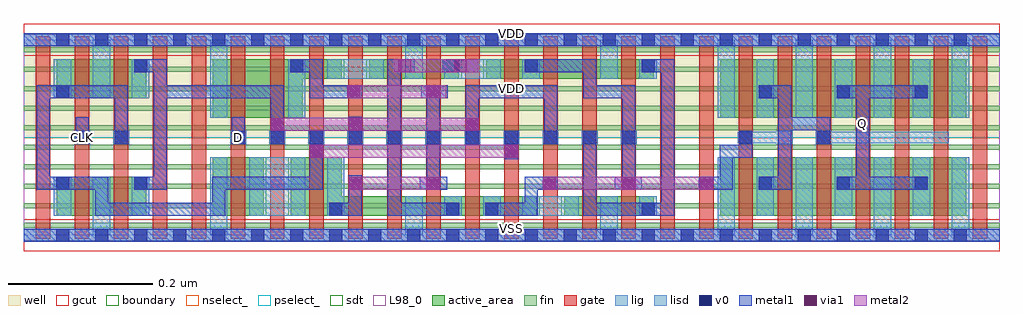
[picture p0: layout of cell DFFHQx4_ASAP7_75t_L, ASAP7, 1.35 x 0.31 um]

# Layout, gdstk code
import gdstk
lib = gdstk.Library(unit=1e-6, precision=2.5e-10)
def R(c, l, rs):  # rectangles x0, y0, x1, y1
    for r in rs: c.add(gdstk.rectangle(r[:2], r[2:], *l))
def A(c, l, x, y, w, h, nx, ny, dx, dy):  # array of equal rectangles
    R(c, l, [(x+i*dx, y+j*dy, x+i*dx+w, y+j*dy+h) for i in range(nx) for j in range(ny)])
def P(c, l, *ps):  # polygons
    for p in ps: c.add(gdstk.Polygon(p, *l))
well = (1, 0)
fin = (2, 0)
gate = (7, 0)
gcut = (10, 0)
active_area = (11, 0)
nselect_ = (12, 0)
pselect_ = (13, 0)
lig = (16, 0)
lisd = (17, 0)
v0 = (18, 0)
metal1 = (19, 0)
metal2 = (20, 0)
via1 = (21, 0)
sdt = (88, 0)
L98_0 = (98, 0)
boundary = (100, 0)

dffhqx4_asap7_75t_l = lib.new_cell('DFFHQx4_ASAP7_75t_L')
R(dffhqx4_asap7_75t_l, well, [(0,0.135,1.35,0.27)])
A(dffhqx4_asap7_75t_l, fin, 0, 0.01, 1.35, 0.007, 1, 10, 0, 0.027)
A(dffhqx4_asap7_75t_l, gate, 0.017, -0.005, 0.02, 0.28, 25, 1, 0.054, 0)
R(dffhqx4_asap7_75t_l, gcut, [(0,-0.022,1.35,0.022), (0,0.248,1.35,0.292)])
R(dffhqx4_asap7_75t_l, active_area, [(0.046,0.027,0.17,0.081), (0.262,0.027,0.332,0.108), (0.748,0.027,0.872,0.054), (0.964,0.027,1.304,0.108), (0.964,0.162,1.304,0.243), (0.046,0.189,0.17,0.243), (0.478,0.216,0.602,0.243), (0.64,0.216,0.872,0.243)])
P(dffhqx4_asap7_75t_l, active_area, [(0.37,0.027),(0.37,0.108),(0.44,0.108),(0.44,0.054),(0.71,0.054),(0.71,0.027)],
  [(0.262,0.162),(0.262,0.243),(0.44,0.243),(0.44,0.216),(0.386,0.216),(0.386,0.162)])
R(dffhqx4_asap7_75t_l, nselect_, [(0,0,1.35,0.135)])
R(dffhqx4_asap7_75t_l, pselect_, [(0,0.135,1.35,0.27)])
A(dffhqx4_asap7_75t_l, lig, 0.286, 0.126, 0.022, 0.018, 11, 1, 0.054, 0)
R(dffhqx4_asap7_75t_l, lig, [(0,-0.008,1.35,0.008), (0.07,0.126,0.092,0.144), (0.124,0.126,0.146,0.144), (1.042,0.126,1.064,0.144), (1.096,0.126,1.118,0.144), (0.988,0.127,1.064,0.143), (1.096,0.127,1.28,0.143), (0,0.262,1.35,0.278)])
A(dffhqx4_asap7_75t_l, lisd, 1.014, 0.027, 0.024, 0.081, 3, 2, 0.108, 0.135)
R(dffhqx4_asap7_75t_l, lisd, [(0.096,0,0.12,0.081), (0.096,0,0.12,0.081), (0.258,0,0.282,0.108), (0.258,0,0.282,0.108), (0.528,0,0.552,0.054), (0.798,0,0.822,0.054), (0.96,0,0.984,0.108), (0.96,0,0.984,0.108), (1.068,0,1.092,0.108), (1.068,0,1.092,0.108), (1.176,0,1.2,0.108), (1.176,0,1.2,0.108), (1.284,0,1.308,0.108), (1.284,0,1.308,0.108), (0.042,0.027,0.066,0.081), (0.15,0.027,0.174,0.081), (0.312,0.027,0.39,0.108), (0.42,0.027,0.444,0.108), (0.582,0.027,0.606,0.054), (0.636,0.027,0.66,0.054), (0.69,0.027,0.768,0.054), (0.852,0.027,0.876,0.054), (0.258,0.162,0.282,0.27), (0.258,0.162,0.282,0.27), (0.366,0.162,0.39,0.243), (0.96,0.162,0.984,0.27), (0.96,0.162,0.984,0.27), (1.068,0.162,1.092,0.27), (1.068,0.162,1.092,0.27), (1.176,0.162,1.2,0.27), (1.176,0.162,1.2,0.27), (1.284,0.162,1.308,0.27), (1.284,0.162,1.308,0.27), (0.042,0.189,0.066,0.243), (0.096,0.189,0.12,0.27), (0.096,0.189,0.12,0.27), (0.15,0.189,0.174,0.243), (0.42,0.216,0.498,0.243), (0.528,0.216,0.552,0.27), (0.582,0.216,0.66,0.243), (0.582,0.216,0.606,0.243), (0.69,0.216,0.714,0.243), (0.798,0.216,0.822,0.27), (0.852,0.216,0.876,0.243)])
A(dffhqx4_asap7_75t_l, v0, 0.045, -0.009, 0.018, 0.018, 24, 2, 0.054, 0.27)
A(dffhqx4_asap7_75t_l, v0, 1.017, 0.063, 0.018, 0.018, 3, 2, 0.108, 0.126)
A(dffhqx4_asap7_75t_l, v0, 0.288, 0.126, 0.018, 0.018, 11, 1, 0.054, 0)
A(dffhqx4_asap7_75t_l, v0, 0.153, 0.225, 0.018, 0.018, 3, 1, 0.216, 0)
R(dffhqx4_asap7_75t_l, v0, [(0.423,0.027,0.441,0.045), (0.585,0.027,0.603,0.045), (0.639,0.027,0.657,0.045), (0.855,0.027,0.873,0.045), (0.045,0.063,0.063,0.081), (0.153,0.063,0.171,0.081), (0.072,0.126,0.09,0.144), (0.126,0.126,0.144,0.144), (0.99,0.126,1.008,0.144), (1.098,0.126,1.116,0.144), (0.045,0.189,0.063,0.207), (0.693,0.225,0.711,0.243), (0.855,0.225,0.873,0.243)])
A(dffhqx4_asap7_75t_l, metal1, 1.017, 0.063, 0.018, 0.018, 3, 2, 0.108, 0.126)
A(dffhqx4_asap7_75t_l, metal1, 0.288, 0.126, 0.018, 0.018, 11, 1, 0.054, 0)
R(dffhqx4_asap7_75t_l, metal1, [(0,-0.009,1.35,0.009), (0.423,0.027,0.441,0.045), (0.585,0.027,0.603,0.045), (0.639,0.027,0.657,0.045), (0.855,0.027,0.873,0.045), (0.045,0.063,0.063,0.081), (0.153,0.063,0.171,0.081), (0.45,0.063,0.468,0.083), (0.548,0.063,0.586,0.081), (0.558,0.063,0.576,0.207), (0.72,0.063,0.738,0.081), (0.818,0.063,0.855,0.081), (0.934,0.063,0.956,0.081), (0.666,0.105,0.684,0.125), (0.396,0.107,0.414,0.125), (0.666,0.107,0.684,0.144), (0.072,0.126,0.09,0.144), (0.072,0.126,0.09,0.163), (0.126,0.126,0.144,0.144), (0.288,0.126,0.306,0.163), (0.45,0.126,0.468,0.163), (0.99,0.126,1.008,0.144), (1.098,0.126,1.116,0.144), (0.342,0.144,0.36,0.162), (0.45,0.144,0.468,0.164), (0.612,0.144,0.63,0.162), (0.045,0.189,0.063,0.207), (0.45,0.189,0.468,0.207), (0.55,0.189,0.587,0.207), (0.153,0.225,0.171,0.243), (0.369,0.225,0.387,0.243), (0.693,0.225,0.711,0.243), (0.855,0.225,0.873,0.243), (0,0.261,1.35,0.279)])
P(dffhqx4_asap7_75t_l, metal1, [(0.58,0.225),(0.58,0.243),(0.629,0.243),(0.629,0.228),(0.629,0.225)],
  [(0.504,0.027),(0.504,0.243),(0.541,0.243),(0.541,0.225),(0.522,0.225),(0.522,0.045),(0.603,0.045),(0.603,0.027)],
  [(0.099,0.027),(0.099,0.063),(0.018,0.063),(0.018,0.207),(0.144,0.207),(0.144,0.126),(0.126,0.126),(0.126,0.189),(0.036,0.189),(0.036,0.081),(0.117,0.081),(0.117,0.045),(0.261,0.045),(0.261,0.081),(0.396,0.081),(0.396,0.144),(0.414,0.144),(0.414,0.063),(0.279,0.063),(0.279,0.027)],
  [(0.153,0.063),(0.153,0.081),(0.18,0.081),(0.18,0.225),(0.153,0.225),(0.153,0.243),(0.198,0.243),(0.198,0.207),(0.36,0.207),(0.36,0.126),(0.342,0.126),(0.342,0.189),(0.198,0.189),(0.198,0.063)],
  [(0.612,0.126),(0.612,0.207),(0.738,0.207),(0.738,0.126),(0.72,0.126),(0.72,0.189),(0.63,0.189),(0.63,0.126)],
  [(0.396,0.189),(0.396,0.225),(0.369,0.225),(0.369,0.243),(0.414,0.243),(0.414,0.207),(0.468,0.207),(0.468,0.189)],
  [(0.423,0.027),(0.423,0.045),(0.45,0.045),(0.45,0.081),(0.468,0.081),(0.468,0.027)],
  [(0.828,0.063),(0.828,0.189),(0.774,0.189),(0.774,0.225),(0.693,0.225),(0.693,0.243),(0.792,0.243),(0.792,0.207),(0.846,0.207),(0.846,0.063)],
  [(0.936,0.063),(0.936,0.081),(0.963,0.081),(0.963,0.125),(0.99,0.125),(0.99,0.144),(1.008,0.144),(1.008,0.107),(0.981,0.107),(0.981,0.063)],
  [(0.639,0.027),(0.639,0.045),(0.693,0.045),(0.693,0.081),(0.738,0.081),(0.738,0.063),(0.711,0.063),(0.711,0.027)],
  [(0.774,0.027),(0.774,0.144),(0.792,0.144),(0.792,0.045),(0.882,0.045),(0.882,0.225),(0.855,0.225),(0.855,0.243),(0.9,0.243),(0.9,0.027)],
  [(1.017,0.063),(1.017,0.081),(1.044,0.081),(1.044,0.189),(1.017,0.189),(1.017,0.207),(1.062,0.207),(1.062,0.163),(1.116,0.163),(1.116,0.126),(1.098,0.126),(1.098,0.145),(1.062,0.145),(1.062,0.063)],
  [(1.125,0.063),(1.125,0.081),(1.152,0.081),(1.152,0.189),(1.125,0.189),(1.125,0.207),(1.251,0.207),(1.251,0.189),(1.17,0.189),(1.17,0.081),(1.251,0.081),(1.251,0.063)])
R(dffhqx4_asap7_75t_l, metal2, [(0.45,0.063,0.576,0.081), (0.718,0.063,0.954,0.081), (0.396,0.107,0.684,0.125), (0.342,0.144,0.63,0.162), (0.448,0.189,0.585,0.207), (0.512,0.225,0.629,0.243)])
R(dffhqx4_asap7_75t_l, via1, [(0.45,0.063,0.468,0.081), (0.558,0.063,0.576,0.081), (0.718,0.063,0.736,0.081), (0.828,0.063,0.846,0.081), (0.936,0.063,0.954,0.081), (0.396,0.107,0.414,0.125), (0.666,0.107,0.684,0.125), (0.342,0.144,0.36,0.162), (0.45,0.144,0.468,0.162), (0.612,0.144,0.63,0.162), (0.448,0.189,0.466,0.207), (0.558,0.189,0.576,0.207), (0.518,0.225,0.536,0.243), (0.596,0.225,0.614,0.243)])
A(dffhqx4_asap7_75t_l, sdt, 0.258, 0.027, 0.024, 0.081, 4, 1, 0.054, 0)
A(dffhqx4_asap7_75t_l, sdt, 0.528, 0.027, 0.024, 0.027, 7, 1, 0.054, 0)
A(dffhqx4_asap7_75t_l, sdt, 0.96, 0.027, 0.024, 0.081, 3, 2, 0.054, 0.135)
A(dffhqx4_asap7_75t_l, sdt, 1.068, 0.027, 0.024, 0.081, 3, 2, 0.054, 0.135)
A(dffhqx4_asap7_75t_l, sdt, 1.176, 0.027, 0.024, 0.081, 3, 2, 0.054, 0.135)
A(dffhqx4_asap7_75t_l, sdt, 0.42, 0.216, 0.024, 0.027, 6, 1, 0.054, 0)
R(dffhqx4_asap7_75t_l, sdt, [(0.042,0.027,0.066,0.081), (0.096,0.027,0.12,0.081), (0.096,0.027,0.12,0.081), (0.15,0.027,0.174,0.081), (0.258,0.027,0.282,0.108), (0.96,0.027,0.984,0.108), (1.284,0.027,1.308,0.108), (0.258,0.162,0.282,0.243), (0.258,0.162,0.282,0.243), (0.366,0.162,0.39,0.243), (0.96,0.162,0.984,0.243), (1.284,0.162,1.308,0.243), (0.042,0.189,0.066,0.243), (0.096,0.189,0.12,0.243), (0.096,0.189,0.12,0.243), (0.15,0.189,0.174,0.243), (0.798,0.216,0.822,0.243), (0.852,0.216,0.876,0.243)])
R(dffhqx4_asap7_75t_l, L98_0, [(0,0,1.35,0.27)])
R(dffhqx4_asap7_75t_l, boundary, [(0,0,1.35,0.27)])
dffhqx4_asap7_75t_l.add(gdstk.Label('VDD', (0.675,0.2025), layer=1, texttype=251))
dffhqx4_asap7_75t_l.add(gdstk.Label('VSS', (0.675,-0.0675), layer=3, texttype=251))
dffhqx4_asap7_75t_l.add(gdstk.Label('VSS', (0.675,0.009), layer=19, texttype=251))
dffhqx4_asap7_75t_l.add(gdstk.Label('VDD', (0.675,0.279), layer=19, texttype=251))
dffhqx4_asap7_75t_l.add(gdstk.Label('CLK', (0.081,0.135), layer=19, texttype=251))
dffhqx4_asap7_75t_l.add(gdstk.Label('D', (0.297,0.135), layer=19, texttype=251))
dffhqx4_asap7_75t_l.add(gdstk.Label('Q', (1.161,0.154), layer=19, texttype=251))

lib.write_gds('DFFHQx4_ASAP7_75t_L.gds')
